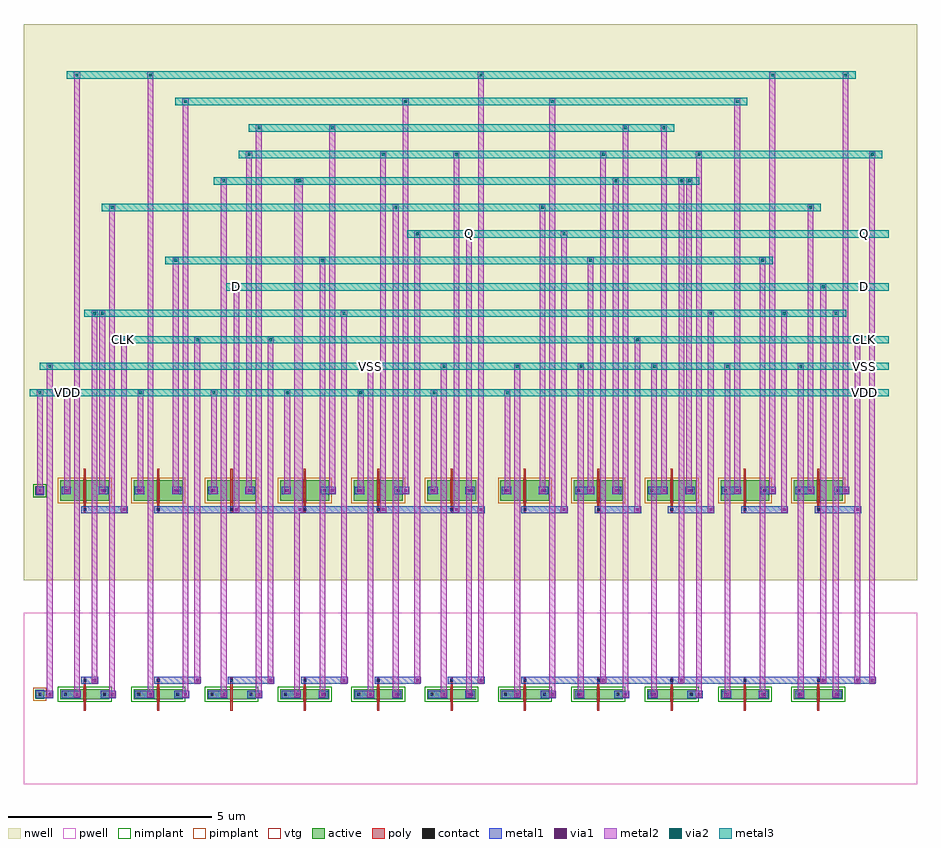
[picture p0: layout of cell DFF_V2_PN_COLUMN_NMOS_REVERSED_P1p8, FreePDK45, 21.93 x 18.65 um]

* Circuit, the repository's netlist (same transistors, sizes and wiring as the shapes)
* cell DFF_V2_PN_COLUMN_NMOS_REVERSED_P1p8
* pin Q
* pin CLK,D
* pin VDD
* pin VSS
.SUBCKT DFF_V2_PN_COLUMN_NMOS_REVERSED_P1p8 4 6 8 9
* net 4 Q
* net 6 CLK,D
* net 8 VDD
* net 9 VSS
* device instance $1 r0 *1 19.2,7 PMOS_VTG
M$1 6 6 1 8 PMOS_VTG L=0.05U W=0.5U AS=0.2875P AD=0.2875P PS=2.15U PD=2.15U
* device instance $2 r0 *1 17.4,7 PMOS_VTG
M$2 6 5 2 8 PMOS_VTG L=0.05U W=0.5U AS=0.2875P AD=0.2875P PS=2.15U PD=2.15U
* device instance $3 r0 *1 15.6,7 PMOS_VTG
M$3 6 5 3 8 PMOS_VTG L=0.05U W=0.5U AS=0.2875P AD=0.2875P PS=2.15U PD=2.15U
* device instance $4 r0 *1 13.8,7 PMOS_VTG
M$4 6 6 7 8 PMOS_VTG L=0.05U W=0.5U AS=0.2875P AD=0.2875P PS=2.15U PD=2.15U
* device instance $5 r0 *1 12,7 PMOS_VTG
M$5 1 4 8 8 PMOS_VTG L=0.05U W=0.5U AS=0.2875P AD=0.2875P PS=2.15U PD=2.15U
* device instance $6 r0 *1 1.2,7 PMOS_VTG
M$6 5 6 8 8 PMOS_VTG L=0.05U W=0.5U AS=0.2875P AD=0.2875P PS=2.15U PD=2.15U
* device instance $7 r0 *1 10.2,7 PMOS_VTG
M$7 4 6 8 8 PMOS_VTG L=0.05U W=0.5U AS=0.2875P AD=0.2875P PS=2.15U PD=2.15U
* device instance $8 r0 *1 3,7 PMOS_VTG
M$8 7 6 8 8 PMOS_VTG L=0.05U W=0.5U AS=0.2875P AD=0.2875P PS=2.15U PD=2.15U
* device instance $9 r0 *1 4.8,7 PMOS_VTG
M$9 6 6 8 8 PMOS_VTG L=0.05U W=0.5U AS=0.2875P AD=0.2875P PS=2.15U PD=2.15U
* device instance $10 r0 *1 6.6,7 PMOS_VTG
M$10 3 6 8 8 PMOS_VTG L=0.05U W=0.5U AS=0.2875P AD=0.2875P PS=2.15U PD=2.15U
* device instance $11 r0 *1 8.4,7 PMOS_VTG
M$11 2 6 8 8 PMOS_VTG L=0.05U W=0.5U AS=0.2875P AD=0.2875P PS=2.15U PD=2.15U
* device instance $12 r0 *1 19.2,2 NMOS_VTG
M$12 5 6 9 9 NMOS_VTG L=0.05U W=0.25U AS=0.14375P AD=0.14375P PS=1.65U PD=1.65U
* device instance $13 r0 *1 15.6,2 NMOS_VTG
M$13 6 6 9 9 NMOS_VTG L=0.05U W=0.25U AS=0.14375P AD=0.14375P PS=1.65U PD=1.65U
* device instance $14 r0 *1 13.8,2 NMOS_VTG
M$14 3 6 9 9 NMOS_VTG L=0.05U W=0.25U AS=0.14375P AD=0.14375P PS=1.65U PD=1.65U
* device instance $15 r0 *1 12,2 NMOS_VTG
M$15 2 6 9 9 NMOS_VTG L=0.05U W=0.25U AS=0.14375P AD=0.14375P PS=1.65U PD=1.65U
* device instance $16 r0 *1 1.2,2 NMOS_VTG
M$16 1 5 6 9 NMOS_VTG L=0.05U W=0.25U AS=0.14375P AD=0.14375P PS=1.65U PD=1.65U
* device instance $17 r0 *1 17.4,2 NMOS_VTG
M$17 7 6 9 9 NMOS_VTG L=0.05U W=0.25U AS=0.14375P AD=0.14375P PS=1.65U PD=1.65U
* device instance $18 r0 *1 6.6,2 NMOS_VTG
M$18 7 5 6 9 NMOS_VTG L=0.05U W=0.25U AS=0.14375P AD=0.14375P PS=1.65U PD=1.65U
* device instance $19 r0 *1 3,2 NMOS_VTG
M$19 2 6 6 9 NMOS_VTG L=0.05U W=0.25U AS=0.14375P AD=0.14375P PS=1.65U PD=1.65U
* device instance $20 r0 *1 10.2,2 NMOS_VTG
M$20 4 6 9 9 NMOS_VTG L=0.05U W=0.25U AS=0.14375P AD=0.14375P PS=1.65U PD=1.65U
* device instance $21 r0 *1 4.8,2 NMOS_VTG
M$21 3 6 6 9 NMOS_VTG L=0.05U W=0.25U AS=0.14375P AD=0.14375P PS=1.65U PD=1.65U
* device instance $22 r0 *1 8.4,2 NMOS_VTG
M$22 1 4 9 9 NMOS_VTG L=0.05U W=0.25U AS=0.14375P AD=0.14375P PS=1.65U PD=1.65U
.ENDS DFF_V2_PN_COLUMN_NMOS_REVERSED_P1p8

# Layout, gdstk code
import gdstk
lib = gdstk.Library(unit=1e-6, precision=5e-10)
def R(c, l, rs):  # rectangles x0, y0, x1, y1
    for r in rs: c.add(gdstk.rectangle(r[:2], r[2:], *l))
def A(c, l, x, y, w, h, nx, ny, dx, dy):  # array of equal rectangles
    R(c, l, [(x+i*dx, y+j*dy, x+i*dx+w, y+j*dy+h) for i in range(nx) for j in range(ny)])
active = (1, 0)
pwell = (2, 0)
nwell = (3, 0)
nimplant = (4, 0)
pimplant = (5, 0)
vtg = (6, 0)
poly = (9, 0)
contact = (10, 0)
metal1 = (11, 0)
via1 = (12, 0)
metal2 = (13, 0)
via2 = (14, 0)
metal3 = (15, 0)

dff_v2_pn_column_nmos_re = lib.new_cell('DFF_V2_PN_COLUMN_NMOS_REVERSED_P1p8')
A(dff_v2_pn_column_nmos_re, active, 0.6, 1.875, 1.2, 0.25, 11, 1, 1.8, 0)
A(dff_v2_pn_column_nmos_re, active, 0.6, 6.75, 1.2, 0.5, 11, 1, 1.8, 0)
R(dff_v2_pn_column_nmos_re, active, [(-0.01,1.89,0.21,2.11), (-0.01,6.89,0.21,7.11)])
R(dff_v2_pn_column_nmos_re, pwell, [(-0.3,-0.2,21.63,4)])
R(dff_v2_pn_column_nmos_re, nwell, [(-0.3,4.8,21.63,18.45)])
A(dff_v2_pn_column_nmos_re, nimplant, 0.54, 1.815, 1.32, 0.37, 11, 1, 1.8, 0)
R(dff_v2_pn_column_nmos_re, nimplant, [(-0.06,6.84,0.26,7.16)])
A(dff_v2_pn_column_nmos_re, pimplant, 0.54, 6.69, 1.32, 0.62, 11, 1, 1.8, 0)
R(dff_v2_pn_column_nmos_re, pimplant, [(-0.06,1.84,0.26,2.16)])
A(dff_v2_pn_column_nmos_re, vtg, 1.165, 1.845, 0.07, 0.31, 11, 1, 1.8, 0)
A(dff_v2_pn_column_nmos_re, vtg, 1.165, 6.72, 0.07, 0.56, 11, 1, 1.8, 0)
A(dff_v2_pn_column_nmos_re, poly, 1.175, 1.595, 0.05, 0.81, 11, 1, 1.8, 0)
A(dff_v2_pn_column_nmos_re, poly, 1.175, 6.47, 0.05, 1.06, 11, 1, 1.8, 0)
A(dff_v2_pn_column_nmos_re, contact, 1.17, 2.315, 0.065, 0.065, 11, 2, 1.8, 4.185)
R(dff_v2_pn_column_nmos_re, contact, [(0.07,1.97,0.135,2.035), (0.69,1.97,0.755,2.035), (1.65,1.97,1.715,2.035), (2.49,1.97,2.555,2.035), (3.45,1.97,3.515,2.035), (4.29,1.97,4.355,2.035), (5.25,1.97,5.315,2.035), (6.09,1.97,6.155,2.035), (7.05,1.97,7.115,2.035), (7.89,1.97,7.955,2.035), (8.85,1.97,8.915,2.035), (9.69,1.97,9.755,2.035), (10.65,1.97,10.715,2.035), (11.49,1.97,11.555,2.035), (12.45,1.97,12.515,2.035), (13.29,1.97,13.355,2.035), (14.25,1.97,14.315,2.035), (15.09,1.97,15.155,2.035), (16.05,1.97,16.115,2.035), (16.89,1.97,16.955,2.035), (17.85,1.97,17.915,2.035), (18.69,1.97,18.755,2.035), (19.65,1.97,19.715,2.035), (0.07,6.97,0.135,7.035), (0.69,6.97,0.755,7.035), (1.65,6.97,1.715,7.035), (2.49,6.97,2.555,7.035), (3.45,6.97,3.515,7.035), (4.29,6.97,4.355,7.035), (5.25,6.97,5.315,7.035), (6.09,6.97,6.155,7.035), (7.05,6.97,7.115,7.035), (7.89,6.97,7.955,7.035), (8.85,6.97,8.915,7.035), (9.69,6.97,9.755,7.035), (10.65,6.97,10.715,7.035), (11.49,6.97,11.555,7.035), (12.45,6.97,12.515,7.035), (13.29,6.97,13.355,7.035), (14.25,6.97,14.315,7.035), (15.09,6.97,15.155,7.035), (16.05,6.97,16.115,7.035), (16.89,6.97,16.955,7.035), (17.85,6.97,17.915,7.035), (18.69,6.97,18.755,7.035), (19.65,6.97,19.715,7.035)])
A(dff_v2_pn_column_nmos_re, metal1, 6.17, 1.91, 0.24, 0.18, 4, 1, 1.8, 0)
A(dff_v2_pn_column_nmos_re, metal1, 12.43, 1.91, 0.24, 0.18, 3, 1, 1.8, 0)
A(dff_v2_pn_column_nmos_re, metal1, 3, 2.255, 0.96, 0.18, 4, 1, 1.8, 0)
A(dff_v2_pn_column_nmos_re, metal1, 12, 6.44, 0.96, 0.18, 5, 1, 1.8, 0)
A(dff_v2_pn_column_nmos_re, metal1, 13.37, 6.91, 0.24, 0.18, 3, 1, 1.8, 0)
R(dff_v2_pn_column_nmos_re, metal1, [(0,1.9,0.2,2.1), (0.1,1.91,0.34,2.09), (0.1,1.91,0.34,2.09), (0.1,1.91,0.34,2.09), (0.1,1.91,0.34,2.09), (0.1,1.91,0.34,2.09), (0.1,1.91,0.34,2.09), (0.1,1.91,0.34,2.09), (0.1,1.91,0.34,2.09), (0.1,1.91,0.34,2.09), (0.1,1.91,0.34,2.09), (0.1,1.91,0.34,2.09), (0.1,1.91,0.34,2.09), (0.25,1.91,0.43,2.09), (0.25,1.91,0.43,2.09), (0.25,1.91,0.43,2.09), (0.25,1.91,0.43,2.09), (0.25,1.91,0.43,2.09), (0.25,1.91,0.43,2.09), (0.25,1.91,0.43,2.09), (0.25,1.91,0.43,2.09), (0.25,1.91,0.43,2.09), (0.25,1.91,0.43,2.09), (0.25,1.91,0.43,2.09), (0.25,1.91,0.43,2.09), (0.63,1.91,0.81,2.09), (0.77,1.91,1.01,2.09), (0.92,1.91,1.1,2.09), (1.59,1.91,1.77,2.09), (1.63,1.91,1.87,2.09), (1.78,1.91,1.96,2.09), (2.43,1.91,2.61,2.09), (2.57,1.91,2.81,2.09), (2.72,1.91,2.9,2.09), (3.39,1.91,3.57,2.09), (3.43,1.91,3.67,2.09), (3.58,1.91,3.76,2.09), (4.23,1.91,4.41,2.09), (4.37,1.91,4.61,2.09), (4.52,1.91,4.7,2.09), (5.19,1.91,5.37,2.09), (5.23,1.91,5.47,2.09), (5.38,1.91,5.56,2.09), (6.03,1.91,6.21,2.09), (6.32,1.91,6.5,2.09), (6.94,1.91,7.12,2.09), (6.99,1.91,7.17,2.09), (7.83,1.91,8.01,2.09), (8.12,1.91,8.3,2.09), (8.74,1.91,8.92,2.09), (8.79,1.91,8.97,2.09), (9.63,1.91,9.81,2.09), (9.92,1.91,10.1,2.09), (10.54,1.91,10.72,2.09), (10.59,1.91,10.77,2.09), (11.43,1.91,11.61,2.09), (11.72,1.91,11.9,2.09), (12.39,1.91,12.57,2.09), (12.58,1.91,12.76,2.09), (13.23,1.91,13.41,2.09), (13.28,1.91,13.46,2.09), (14.19,1.91,14.37,2.09), (14.38,1.91,14.56,2.09), (15.03,1.91,15.21,2.09), (15.08,1.91,15.26,2.09), (15.99,1.91,16.17,2.09), (16.18,1.91,16.36,2.09), (16.83,1.91,17.01,2.09), (16.88,1.91,17.06,2.09), (17.74,1.91,17.92,2.09), (17.79,1.91,17.97,2.09), (18.63,1.91,18.81,2.09), (18.68,1.91,18.86,2.09), (19.54,1.91,19.72,2.09), (19.59,1.91,19.77,2.09), (1.11,2.255,1.29,2.435), (1.2,2.255,1.44,2.435), (1.35,2.255,1.53,2.435), (2.91,2.255,3.09,2.435), (3.87,2.255,4.05,2.435), (4.71,2.255,4.89,2.435), (5.67,2.255,5.85,2.435), (6.51,2.255,6.69,2.435), (7.47,2.255,7.65,2.435), (8.31,2.255,8.49,2.435), (9.27,2.255,9.45,2.435), (10.11,2.255,10.29,2.435), (10.2,2.255,10.92,2.435), (10.83,2.255,11.01,2.435), (11.91,2.255,12.09,2.435), (12,2.255,13.92,2.435), (13.71,2.255,13.89,2.435), (13.8,2.255,20.52,2.435), (13.83,2.255,14.01,2.435), (15.51,2.255,15.69,2.435), (15.6,2.255,15.84,2.435), (15.75,2.255,15.93,2.435), (17.31,2.255,17.49,2.435), (17.4,2.255,19.32,2.435), (19.11,2.255,19.29,2.435), (19.2,2.255,20.16,2.435), (19.23,2.255,19.41,2.435), (20.07,2.255,20.25,2.435), (20.43,2.255,20.61,2.435), (1.11,6.44,1.29,6.62), (1.2,6.44,2.16,6.62), (2.07,6.44,2.25,6.62), (2.91,6.44,3.09,6.62), (3,6.44,4.92,6.62), (4.71,6.44,4.89,6.62), (4.8,6.44,6.48,6.62), (4.83,6.44,5.01,6.62), (6.39,6.44,6.57,6.62), (6.51,6.44,6.69,6.62), (6.6,6.44,8.52,6.62), (8.31,6.44,8.49,6.62), (8.4,6.44,10.32,6.62), (8.43,6.44,8.61,6.62), (10.11,6.44,10.29,6.62), (10.2,6.44,10.92,6.62), (10.23,6.44,10.41,6.62), (10.83,6.44,11.01,6.62), (11.91,6.44,12.09,6.62), (12.87,6.44,13.05,6.62), (13.71,6.44,13.89,6.62), (14.67,6.44,14.85,6.62), (15.51,6.44,15.69,6.62), (16.47,6.44,16.65,6.62), (17.31,6.44,17.49,6.62), (18.27,6.44,18.45,6.62), (19.11,6.44,19.29,6.62), (20.07,6.44,20.25,6.62), (0,6.9,0.2,7.1), (0.01,6.91,0.19,7.09), (0.01,6.91,0.19,7.09), (0.01,6.91,0.19,7.09), (0.01,6.91,0.19,7.09), (0.01,6.91,0.19,7.09), (0.01,6.91,0.19,7.09), (0.01,6.91,0.19,7.09), (0.01,6.91,0.19,7.09), (0.01,6.91,0.19,7.09), (0.01,6.91,0.19,7.09), (0.01,6.91,0.19,7.09), (0.01,6.91,0.19,7.09), (0.63,6.91,0.81,7.09), (0.68,6.91,0.86,7.09), (1.54,6.91,1.72,7.09), (1.59,6.91,1.77,7.09), (2.43,6.91,2.61,7.09), (2.48,6.91,2.66,7.09), (3.34,6.91,3.52,7.09), (3.39,6.91,3.57,7.09), (4.23,6.91,4.41,7.09), (4.28,6.91,4.46,7.09), (5.14,6.91,5.32,7.09), (5.19,6.91,5.37,7.09), (6.03,6.91,6.21,7.09), (6.08,6.91,6.26,7.09), (6.99,6.91,7.17,7.09), (7.03,6.91,7.27,7.09), (7.18,6.91,7.36,7.09), (7.83,6.91,8.01,7.09), (7.88,6.91,8.06,7.09), (8.79,6.91,8.97,7.09), (8.83,6.91,9.07,7.09), (8.98,6.91,9.16,7.09), (9.63,6.91,9.81,7.09), (9.68,6.91,9.86,7.09), (10.54,6.91,10.72,7.09), (10.59,6.91,10.77,7.09), (11.43,6.91,11.61,7.09), (11.48,6.91,11.66,7.09), (12.34,6.91,12.52,7.09), (12.39,6.91,12.57,7.09), (13.23,6.91,13.41,7.09), (13.52,6.91,13.7,7.09), (14.14,6.91,14.32,7.09), (14.19,6.91,14.37,7.09), (15.03,6.91,15.21,7.09), (15.32,6.91,15.5,7.09), (15.94,6.91,16.12,7.09), (15.99,6.91,16.17,7.09), (16.83,6.91,17.01,7.09), (17.12,6.91,17.3,7.09), (17.79,6.91,17.97,7.09), (17.83,6.91,18.07,7.09), (17.98,6.91,18.16,7.09), (18.63,6.91,18.81,7.09), (18.77,6.91,19.01,7.09), (18.92,6.91,19.1,7.09), (19.59,6.91,19.77,7.09), (19.63,6.91,19.87,7.09), (19.78,6.91,19.96,7.09)])
A(dff_v2_pn_column_nmos_re, via1, 3.93, 2.315, 0.065, 0.065, 4, 1, 1.8, 0)
A(dff_v2_pn_column_nmos_re, via1, 12.93, 6.5, 0.065, 0.065, 5, 1, 1.8, 0)
R(dff_v2_pn_column_nmos_re, via1, [(0.31,1.97,0.375,2.035), (0.31,1.97,0.375,2.035), (0.31,1.97,0.375,2.035), (0.31,1.97,0.375,2.035), (0.31,1.97,0.375,2.035), (0.31,1.97,0.375,2.035), (0.31,1.97,0.375,2.035), (0.31,1.97,0.375,2.035), (0.31,1.97,0.375,2.035), (0.31,1.97,0.375,2.035), (0.31,1.97,0.375,2.035), (0.31,1.97,0.375,2.035), (0.98,1.97,1.045,2.035), (1.84,1.97,1.905,2.035), (2.78,1.97,2.845,2.035), (3.64,1.97,3.705,2.035), (4.58,1.97,4.645,2.035), (5.44,1.97,5.505,2.035), (6.38,1.97,6.445,2.035), (7,1.97,7.065,2.035), (8.18,1.97,8.245,2.035), (8.8,1.97,8.865,2.035), (9.98,1.97,10.045,2.035), (10.6,1.97,10.665,2.035), (11.78,1.97,11.845,2.035), (12.64,1.97,12.705,2.035), (13.34,1.97,13.405,2.035), (14.44,1.97,14.505,2.035), (15.14,1.97,15.205,2.035), (16.24,1.97,16.305,2.035), (16.94,1.97,17.005,2.035), (17.8,1.97,17.865,2.035), (18.74,1.97,18.805,2.035), (19.6,1.97,19.665,2.035), (1.41,2.315,1.475,2.38), (10.89,2.315,10.955,2.38), (13.89,2.315,13.955,2.38), (15.81,2.315,15.875,2.38), (19.29,2.315,19.355,2.38), (20.13,2.315,20.195,2.38), (20.49,2.315,20.555,2.38), (2.13,6.5,2.195,6.565), (4.89,6.5,4.955,6.565), (6.45,6.5,6.515,6.565), (8.49,6.5,8.555,6.565), (10.29,6.5,10.355,6.565), (10.89,6.5,10.955,6.565), (0.07,6.97,0.135,7.035), (0.07,6.97,0.135,7.035), (0.07,6.97,0.135,7.035), (0.07,6.97,0.135,7.035), (0.07,6.97,0.135,7.035), (0.07,6.97,0.135,7.035), (0.07,6.97,0.135,7.035), (0.07,6.97,0.135,7.035), (0.07,6.97,0.135,7.035), (0.07,6.97,0.135,7.035), (0.07,6.97,0.135,7.035), (0.07,6.97,0.135,7.035), (0.74,6.97,0.805,7.035), (1.6,6.97,1.665,7.035), (2.54,6.97,2.605,7.035), (3.4,6.97,3.465,7.035), (4.34,6.97,4.405,7.035), (5.2,6.97,5.265,7.035), (6.14,6.97,6.205,7.035), (7.24,6.97,7.305,7.035), (7.94,6.97,8.005,7.035), (9.04,6.97,9.105,7.035), (9.74,6.97,9.805,7.035), (10.6,6.97,10.665,7.035), (11.54,6.97,11.605,7.035), (12.4,6.97,12.465,7.035), (13.58,6.97,13.645,7.035), (14.2,6.97,14.265,7.035), (15.38,6.97,15.445,7.035), (16,6.97,16.065,7.035), (17.18,6.97,17.245,7.035), (18.04,6.97,18.105,7.035), (18.98,6.97,19.045,7.035), (19.84,6.97,19.905,7.035)])
A(dff_v2_pn_column_nmos_re, metal2, 8.14, 2, 0.14, 8.05, 3, 1, 1.8, 0)
A(dff_v2_pn_column_nmos_re, metal2, 13.3, 2, 0.14, 8.05, 4, 1, 1.8, 0)
A(dff_v2_pn_column_nmos_re, metal2, 3.885, 2.27, 0.15, 0.15, 4, 1, 1.8, 0)
A(dff_v2_pn_column_nmos_re, metal2, 12.885, 6.455, 0.15, 0.15, 5, 1, 1.8, 0)
A(dff_v2_pn_column_nmos_re, metal2, 0.7, 7, 0.14, 2.4, 7, 1, 1.8, 0)
A(dff_v2_pn_column_nmos_re, metal2, 0.695, 9.325, 0.15, 0.15, 7, 1, 1.8, 0)
A(dff_v2_pn_column_nmos_re, metal2, 8.135, 9.975, 0.15, 0.15, 3, 1, 1.8, 0)
A(dff_v2_pn_column_nmos_re, metal2, 13.295, 9.975, 0.15, 0.15, 4, 1, 1.8, 0)
A(dff_v2_pn_column_nmos_re, metal2, 2.085, 10.625, 0.15, 0.15, 3, 1, 1.8, 0)
R(dff_v2_pn_column_nmos_re, metal2, [(0.265,1.925,0.415,2.075), (0.265,1.925,0.415,2.075), (0.265,1.925,0.415,2.075), (0.265,1.925,0.415,2.075), (0.265,1.925,0.415,2.075), (0.265,1.925,0.415,2.075), (0.265,1.925,0.415,2.075), (0.265,1.925,0.415,2.075), (0.265,1.925,0.415,2.075), (0.265,1.925,0.415,2.075), (0.265,1.925,0.415,2.075), (0.265,1.925,0.415,2.075), (0.935,1.925,1.085,2.075), (1.795,1.925,1.945,2.075), (2.735,1.925,2.885,2.075), (3.595,1.925,3.745,2.075), (4.535,1.925,4.685,2.075), (5.395,1.925,5.545,2.075), (6.335,1.925,6.485,2.075), (6.955,1.925,7.105,2.075), (8.135,1.925,8.285,2.075), (8.755,1.925,8.905,2.075), (9.935,1.925,10.085,2.075), (10.555,1.925,10.705,2.075), (11.735,1.925,11.885,2.075), (12.595,1.925,12.745,2.075), (13.295,1.925,13.445,2.075), (14.395,1.925,14.545,2.075), (15.095,1.925,15.245,2.075), (16.195,1.925,16.345,2.075), (16.895,1.925,17.045,2.075), (17.755,1.925,17.905,2.075), (18.695,1.925,18.845,2.075), (19.555,1.925,19.705,2.075), (0.27,2,0.41,10.05), (0.27,2,0.41,10.05), (0.27,2,0.41,10.05), (0.27,2,0.41,10.05), (0.27,2,0.41,10.05), (0.27,2,0.41,10.05), (0.27,2,0.41,10.05), (0.27,2,0.41,10.05), (0.27,2,0.41,10.05), (0.27,2,0.41,10.05), (0.27,2,0.41,10.05), (0.27,2,0.41,10.05), (0.94,2,1.08,17.2), (1.8,2,1.94,13.95), (2.74,2,2.88,17.2), (3.6,2,3.74,16.55), (4.54,2,4.68,14.6), (5.4,2,5.54,15.9), (6.34,2,6.48,14.6), (6.96,2,7.1,12.65), (8.76,2,8.9,13.95), (10.56,2,10.7,13.3), (12.6,2,12.74,16.55), (14.4,2,14.54,15.9), (16.2,2,16.34,15.25), (17.76,2,17.9,12.65), (19.56,2,19.7,11.35), (1.365,2.27,1.515,2.42), (10.845,2.27,10.995,2.42), (13.845,2.27,13.995,2.42), (15.765,2.27,15.915,2.42), (19.245,2.27,19.395,2.42), (20.085,2.27,20.235,2.42), (20.445,2.27,20.595,2.42), (1.37,2.345,1.51,11.35), (3.89,2.345,4.03,10.7), (5.69,2.345,5.83,10.7), (7.49,2.345,7.63,11.35), (9.29,2.345,9.43,13.3), (10.85,2.345,10.99,17.2), (13.85,2.345,13.99,15.25), (15.77,2.345,15.91,14.6), (19.25,2.345,19.39,12), (20.09,2.345,20.23,10.7), (20.45,2.345,20.59,15.25), (2.085,6.455,2.235,6.605), (4.845,6.455,4.995,6.605), (6.405,6.455,6.555,6.605), (8.445,6.455,8.595,6.605), (10.245,6.455,10.395,6.605), (10.845,6.455,10.995,6.605), (2.09,6.53,2.23,10.7), (4.85,6.53,4.99,12), (6.41,6.53,6.55,14.6), (8.45,6.53,8.59,15.25), (10.25,6.53,10.39,15.25), (10.85,6.53,10.99,17.2), (12.89,6.53,13.03,13.3), (14.69,6.53,14.83,10.7), (16.49,6.53,16.63,11.35), (18.29,6.53,18.43,11.35), (20.09,6.53,20.23,10.7), (0.025,6.925,0.175,7.075), (0.025,6.925,0.175,7.075), (0.025,6.925,0.175,7.075), (0.025,6.925,0.175,7.075), (0.025,6.925,0.175,7.075), (0.025,6.925,0.175,7.075), (0.025,6.925,0.175,7.075), (0.025,6.925,0.175,7.075), (0.025,6.925,0.175,7.075), (0.025,6.925,0.175,7.075), (0.025,6.925,0.175,7.075), (0.025,6.925,0.175,7.075), (0.695,6.925,0.845,7.075), (1.555,6.925,1.705,7.075), (2.495,6.925,2.645,7.075), (3.355,6.925,3.505,7.075), (4.295,6.925,4.445,7.075), (5.155,6.925,5.305,7.075), (6.095,6.925,6.245,7.075), (7.195,6.925,7.345,7.075), (7.895,6.925,8.045,7.075), (8.995,6.925,9.145,7.075), (9.695,6.925,9.845,7.075), (10.555,6.925,10.705,7.075), (11.495,6.925,11.645,7.075), (12.355,6.925,12.505,7.075), (13.535,6.925,13.685,7.075), (14.155,6.925,14.305,7.075), (15.335,6.925,15.485,7.075), (15.955,6.925,16.105,7.075), (17.135,6.925,17.285,7.075), (17.995,6.925,18.145,7.075), (18.935,6.925,19.085,7.075), (19.795,6.925,19.945,7.075), (0.03,7,0.17,9.4), (0.03,7,0.17,9.4), (0.03,7,0.17,9.4), (0.03,7,0.17,9.4), (0.03,7,0.17,9.4), (0.03,7,0.17,9.4), (0.03,7,0.17,9.4), (0.03,7,0.17,9.4), (0.03,7,0.17,9.4), (0.03,7,0.17,9.4), (0.03,7,0.17,9.4), (0.03,7,0.17,9.4), (1.56,7,1.7,11.35), (3.36,7,3.5,12.65), (5.16,7,5.3,15.25), (7.2,7,7.34,15.9), (9,7,9.14,16.55), (10.56,7,10.7,13.3), (12.36,7,12.5,13.95), (13.54,7,13.68,12.65), (14.16,7,14.3,14.6), (15.34,7,15.48,15.9), (15.96,7,16.1,14.6), (17.14,7,17.28,16.55), (18,7,18.14,17.2), (18.94,7,19.08,13.95), (19.8,7,19.94,17.2), (0.025,9.325,0.175,9.475), (0.025,9.325,0.175,9.475), (0.025,9.325,0.175,9.475), (0.025,9.325,0.175,9.475), (0.025,9.325,0.175,9.475), (0.025,9.325,0.175,9.475), (0.025,9.325,0.175,9.475), (0.025,9.325,0.175,9.475), (0.025,9.325,0.175,9.475), (0.025,9.325,0.175,9.475), (0.025,9.325,0.175,9.475), (0.025,9.325,0.175,9.475), (0.265,9.975,0.415,10.125), (0.265,9.975,0.415,10.125), (0.265,9.975,0.415,10.125), (0.265,9.975,0.415,10.125), (0.265,9.975,0.415,10.125), (0.265,9.975,0.415,10.125), (0.265,9.975,0.415,10.125), (0.265,9.975,0.415,10.125), (0.265,9.975,0.415,10.125), (0.265,9.975,0.415,10.125), (0.265,9.975,0.415,10.125), (0.265,9.975,0.415,10.125), (14.685,10.625,14.835,10.775), (20.085,10.625,20.235,10.775), (20.085,10.625,20.235,10.775), (1.365,11.275,1.515,11.425), (1.555,11.275,1.705,11.425), (7.485,11.275,7.635,11.425), (16.485,11.275,16.635,11.425), (18.285,11.275,18.435,11.425), (19.555,11.275,19.705,11.425), (4.845,11.925,4.995,12.075), (19.245,11.925,19.395,12.075), (3.355,12.575,3.505,12.725), (6.955,12.575,7.105,12.725), (13.535,12.575,13.685,12.725), (17.755,12.575,17.905,12.725), (9.285,13.225,9.435,13.375), (10.555,13.225,10.705,13.375), (10.555,13.225,10.705,13.375), (12.885,13.225,13.035,13.375), (1.795,13.875,1.945,14.025), (8.755,13.875,8.905,14.025), (12.355,13.875,12.505,14.025), (18.935,13.875,19.085,14.025), (4.535,14.525,4.685,14.675), (6.335,14.525,6.485,14.675), (6.405,14.525,6.555,14.675), (14.155,14.525,14.305,14.675), (15.765,14.525,15.915,14.675), (15.955,14.525,16.105,14.675), (5.155,15.175,5.305,15.325), (8.445,15.175,8.595,15.325), (10.245,15.175,10.395,15.325), (13.845,15.175,13.995,15.325), (16.195,15.175,16.345,15.325), (20.445,15.175,20.595,15.325), (5.395,15.825,5.545,15.975), (7.195,15.825,7.345,15.975), (14.395,15.825,14.545,15.975), (15.335,15.825,15.485,15.975), (3.595,16.475,3.745,16.625), (8.995,16.475,9.145,16.625), (12.595,16.475,12.745,16.625), (17.135,16.475,17.285,16.625), (0.935,17.125,1.085,17.275), (2.735,17.125,2.885,17.275), (10.845,17.125,10.995,17.275), (10.845,17.125,10.995,17.275), (17.995,17.125,18.145,17.275), (19.795,17.125,19.945,17.275)])
A(dff_v2_pn_column_nmos_re, via2, 0.74, 9.37, 0.065, 0.065, 7, 1, 1.8, 0)
A(dff_v2_pn_column_nmos_re, via2, 8.18, 10.02, 0.065, 0.065, 3, 1, 1.8, 0)
A(dff_v2_pn_column_nmos_re, via2, 13.34, 10.02, 0.065, 0.065, 4, 1, 1.8, 0)
A(dff_v2_pn_column_nmos_re, via2, 2.13, 10.67, 0.065, 0.065, 3, 1, 1.8, 0)
R(dff_v2_pn_column_nmos_re, via2, [(0.07,9.37,0.135,9.435), (0.07,9.37,0.135,9.435), (0.07,9.37,0.135,9.435), (0.07,9.37,0.135,9.435), (0.07,9.37,0.135,9.435), (0.07,9.37,0.135,9.435), (0.07,9.37,0.135,9.435), (0.07,9.37,0.135,9.435), (0.07,9.37,0.135,9.435), (0.07,9.37,0.135,9.435), (0.07,9.37,0.135,9.435), (0.07,9.37,0.135,9.435), (0.31,10.02,0.375,10.085), (0.31,10.02,0.375,10.085), (0.31,10.02,0.375,10.085), (0.31,10.02,0.375,10.085), (0.31,10.02,0.375,10.085), (0.31,10.02,0.375,10.085), (0.31,10.02,0.375,10.085), (0.31,10.02,0.375,10.085), (0.31,10.02,0.375,10.085), (0.31,10.02,0.375,10.085), (0.31,10.02,0.375,10.085), (0.31,10.02,0.375,10.085), (14.73,10.67,14.795,10.735), (20.13,10.67,20.195,10.735), (20.13,10.67,20.195,10.735), (1.41,11.32,1.475,11.385), (1.6,11.32,1.665,11.385), (7.53,11.32,7.595,11.385), (16.53,11.32,16.595,11.385), (18.33,11.32,18.395,11.385), (19.6,11.32,19.665,11.385), (4.89,11.97,4.955,12.035), (19.29,11.97,19.355,12.035), (3.4,12.62,3.465,12.685), (7,12.62,7.065,12.685), (13.58,12.62,13.645,12.685), (17.8,12.62,17.865,12.685), (9.33,13.27,9.395,13.335), (10.6,13.27,10.665,13.335), (10.6,13.27,10.665,13.335), (12.93,13.27,12.995,13.335), (1.84,13.92,1.905,13.985), (8.8,13.92,8.865,13.985), (12.4,13.92,12.465,13.985), (18.98,13.92,19.045,13.985), (4.58,14.57,4.645,14.635), (6.38,14.57,6.445,14.635), (6.45,14.57,6.515,14.635), (14.2,14.57,14.265,14.635), (15.81,14.57,15.875,14.635), (16,14.57,16.065,14.635), (5.2,15.22,5.265,15.285), (8.49,15.22,8.555,15.285), (10.29,15.22,10.355,15.285), (13.89,15.22,13.955,15.285), (16.24,15.22,16.305,15.285), (20.49,15.22,20.555,15.285), (5.44,15.87,5.505,15.935), (7.24,15.87,7.305,15.935), (14.44,15.87,14.505,15.935), (15.38,15.87,15.445,15.935), (3.64,16.52,3.705,16.585), (9.04,16.52,9.105,16.585), (12.64,16.52,12.705,16.585), (17.18,16.52,17.245,16.585), (0.98,17.17,1.045,17.235), (2.78,17.17,2.845,17.235), (10.89,17.17,10.955,17.235), (10.89,17.17,10.955,17.235), (18.04,17.17,18.105,17.235), (19.84,17.17,19.905,17.235)])
A(dff_v2_pn_column_nmos_re, metal3, 0.695, 9.325, 0.15, 0.15, 7, 1, 1.8, 0)
A(dff_v2_pn_column_nmos_re, metal3, 8.135, 9.975, 0.15, 0.15, 3, 1, 1.8, 0)
A(dff_v2_pn_column_nmos_re, metal3, 13.295, 9.975, 0.15, 0.15, 4, 1, 1.8, 0)
A(dff_v2_pn_column_nmos_re, metal3, 2.085, 10.625, 0.15, 0.15, 3, 1, 1.8, 0)
R(dff_v2_pn_column_nmos_re, metal3, [(-0.15,9.31,11.82,9.49), (11.82,9.31,20.93,9.49), (0.025,9.325,0.175,9.475), (0.025,9.325,0.175,9.475), (0.025,9.325,0.175,9.475), (0.025,9.325,0.175,9.475), (0.025,9.325,0.175,9.475), (0.025,9.325,0.175,9.475), (0.025,9.325,0.175,9.475), (0.025,9.325,0.175,9.475), (0.025,9.325,0.175,9.475), (0.025,9.325,0.175,9.475), (0.025,9.325,0.175,9.475), (0.025,9.325,0.175,9.475), (0.09,9.96,19.02,10.14), (19.02,9.96,20.93,10.14), (0.265,9.975,0.415,10.125), (0.265,9.975,0.415,10.125), (0.265,9.975,0.415,10.125), (0.265,9.975,0.415,10.125), (0.265,9.975,0.415,10.125), (0.265,9.975,0.415,10.125), (0.265,9.975,0.415,10.125), (0.265,9.975,0.415,10.125), (0.265,9.975,0.415,10.125), (0.265,9.975,0.415,10.125), (0.265,9.975,0.415,10.125), (0.265,9.975,0.415,10.125), (1.91,10.61,20.41,10.79), (20.41,10.61,20.93,10.79), (14.685,10.625,14.835,10.775), (20.085,10.625,20.235,10.775), (20.085,10.625,20.235,10.775), (1.19,11.26,19.88,11.44), (1.365,11.275,1.515,11.425), (1.555,11.275,1.705,11.425), (7.485,11.275,7.635,11.425), (16.485,11.275,16.635,11.425), (18.285,11.275,18.435,11.425), (19.555,11.275,19.705,11.425), (4.67,11.91,19.57,12.09), (19.57,11.91,20.93,12.09), (4.845,11.925,4.995,12.075), (19.245,11.925,19.395,12.075), (3.18,12.56,18.08,12.74), (3.355,12.575,3.505,12.725), (6.955,12.575,7.105,12.725), (13.535,12.575,13.685,12.725), (17.755,12.575,17.905,12.725), (9.11,13.21,13.21,13.39), (13.21,13.21,20.93,13.39), (9.285,13.225,9.435,13.375), (10.555,13.225,10.705,13.375), (10.555,13.225,10.705,13.375), (12.885,13.225,13.035,13.375), (1.62,13.86,19.26,14.04), (1.795,13.875,1.945,14.025), (8.755,13.875,8.905,14.025), (12.355,13.875,12.505,14.025), (18.935,13.875,19.085,14.025), (4.36,14.51,16.28,14.69), (4.535,14.525,4.685,14.675), (6.335,14.525,6.485,14.675), (6.405,14.525,6.555,14.675), (14.155,14.525,14.305,14.675), (15.765,14.525,15.915,14.675), (15.955,14.525,16.105,14.675), (4.98,15.16,20.77,15.34), (5.155,15.175,5.305,15.325), (8.445,15.175,8.595,15.325), (10.245,15.175,10.395,15.325), (13.845,15.175,13.995,15.325), (16.195,15.175,16.345,15.325), (20.445,15.175,20.595,15.325), (5.22,15.81,15.66,15.99), (5.395,15.825,5.545,15.975), (7.195,15.825,7.345,15.975), (14.395,15.825,14.545,15.975), (15.335,15.825,15.485,15.975), (3.42,16.46,17.46,16.64), (3.595,16.475,3.745,16.625), (8.995,16.475,9.145,16.625), (12.595,16.475,12.745,16.625), (17.135,16.475,17.285,16.625), (0.76,17.11,20.12,17.29), (0.935,17.125,1.085,17.275), (2.735,17.125,2.885,17.275), (10.845,17.125,10.995,17.275), (10.845,17.125,10.995,17.275), (17.995,17.125,18.145,17.275), (19.795,17.125,19.945,17.275)])
dff_v2_pn_column_nmos_re.add(gdstk.Label('VDD', (20.33,9.4), layer=15, texttype=0))
dff_v2_pn_column_nmos_re.add(gdstk.Label('VDD', (20.33,9.4), layer=15, texttype=1))
dff_v2_pn_column_nmos_re.add(gdstk.Label('VDD', (20.33,9.4), layer=15, texttype=2))
dff_v2_pn_column_nmos_re.add(gdstk.Label('VDD', (0.77,9.4), layer=13, texttype=0))
dff_v2_pn_column_nmos_re.add(gdstk.Label('VDD', (0.77,9.4), layer=13, texttype=1))
dff_v2_pn_column_nmos_re.add(gdstk.Label('VDD', (0.77,9.4), layer=13, texttype=2))
dff_v2_pn_column_nmos_re.add(gdstk.Label('VSS', (20.33,10.05), layer=15, texttype=0))
dff_v2_pn_column_nmos_re.add(gdstk.Label('VSS', (20.33,10.05), layer=15, texttype=1))
dff_v2_pn_column_nmos_re.add(gdstk.Label('VSS', (20.33,10.05), layer=15, texttype=2))
dff_v2_pn_column_nmos_re.add(gdstk.Label('VSS', (8.21,10.05), layer=13, texttype=0))
dff_v2_pn_column_nmos_re.add(gdstk.Label('VSS', (8.21,10.05), layer=13, texttype=1))
dff_v2_pn_column_nmos_re.add(gdstk.Label('VSS', (8.21,10.05), layer=13, texttype=2))
dff_v2_pn_column_nmos_re.add(gdstk.Label('D', (20.33,12), layer=15, texttype=0))
dff_v2_pn_column_nmos_re.add(gdstk.Label('D', (20.33,12), layer=15, texttype=1))
dff_v2_pn_column_nmos_re.add(gdstk.Label('D', (20.33,12), layer=15, texttype=2))
dff_v2_pn_column_nmos_re.add(gdstk.Label('D', (4.92,12), layer=13, texttype=0))
dff_v2_pn_column_nmos_re.add(gdstk.Label('D', (4.92,12), layer=13, texttype=1))
dff_v2_pn_column_nmos_re.add(gdstk.Label('D', (4.92,12), layer=13, texttype=2))
dff_v2_pn_column_nmos_re.add(gdstk.Label('Q', (20.33,13.3), layer=15, texttype=0))
dff_v2_pn_column_nmos_re.add(gdstk.Label('Q', (20.33,13.3), layer=15, texttype=1))
dff_v2_pn_column_nmos_re.add(gdstk.Label('Q', (20.33,13.3), layer=15, texttype=2))
dff_v2_pn_column_nmos_re.add(gdstk.Label('Q', (10.63,13.3), layer=13, texttype=0))
dff_v2_pn_column_nmos_re.add(gdstk.Label('Q', (10.63,13.3), layer=13, texttype=1))
dff_v2_pn_column_nmos_re.add(gdstk.Label('Q', (10.63,13.3), layer=13, texttype=2))
dff_v2_pn_column_nmos_re.add(gdstk.Label('CLK', (20.33,10.7), layer=15, texttype=0))
dff_v2_pn_column_nmos_re.add(gdstk.Label('CLK', (20.33,10.7), layer=15, texttype=1))
dff_v2_pn_column_nmos_re.add(gdstk.Label('CLK', (20.33,10.7), layer=15, texttype=2))
dff_v2_pn_column_nmos_re.add(gdstk.Label('CLK', (2.16,10.7), layer=13, texttype=0))
dff_v2_pn_column_nmos_re.add(gdstk.Label('CLK', (2.16,10.7), layer=13, texttype=1))
dff_v2_pn_column_nmos_re.add(gdstk.Label('CLK', (2.16,10.7), layer=13, texttype=2))

lib.write_gds('DFF_V2_PN_COLUMN_NMOS_REVERSED_P1p8.gds')
